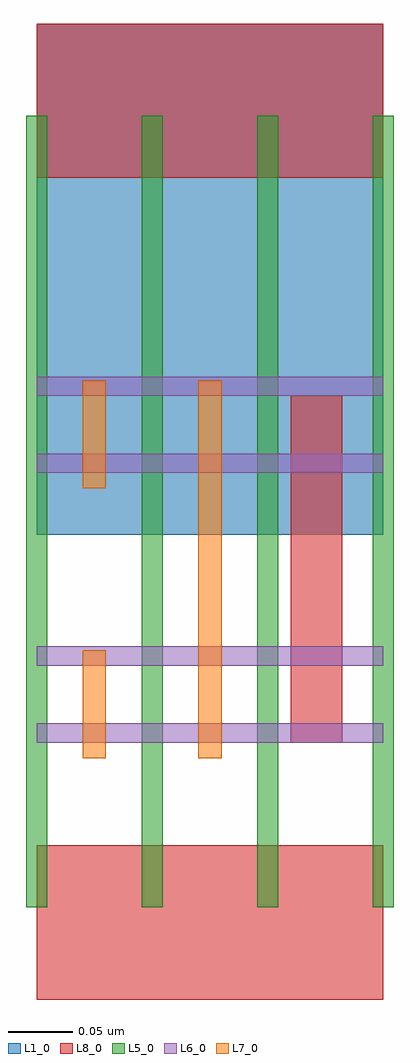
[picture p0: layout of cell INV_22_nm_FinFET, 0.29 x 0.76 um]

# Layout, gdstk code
import gdstk
lib = gdstk.Library(unit=1e-6, precision=1e-12)
def R(c, l, rs):  # rectangles x0, y0, x1, y1
    for r in rs: c.add(gdstk.rectangle(r[:2], r[2:], *l))
def A(c, l, x, y, w, h, nx, ny, dx, dy):  # array of equal rectangles
    R(c, l, [(x+i*dx, y+j*dy, x+i*dx+w, y+j*dy+h) for i in range(nx) for j in range(ny)])
L1_0 = (1, 0)
L5_0 = (5, 0)
L6_0 = (6, 0)
L7_0 = (7, 0)
L8_0 = (8, 0)

inv_22_nm_finfet = lib.new_cell('INV_22_nm_FinFET')
R(inv_22_nm_finfet, L1_0, [(0,0.362,0.27,0.76)])
A(inv_22_nm_finfet, L5_0, -0.0081, 0.072, 0.0162, 0.616, 4, 1, 0.09, 0)
R(inv_22_nm_finfet, L6_0, [(0,0.2,0.27,0.215), (0,0.26,0.27,0.275), (0,0.41,0.27,0.425), (0,0.47,0.27,0.485)])
R(inv_22_nm_finfet, L7_0, [(0.036,0.188,0.054,0.272), (0.126,0.188,0.144,0.482), (0.036,0.398,0.054,0.482)])
R(inv_22_nm_finfet, L8_0, [(0,0,0.27,0.12), (0.198,0.2,0.238,0.47), (0,0.64,0.27,0.76)])

lib.write_gds('INV_22_nm_FinFET.gds')
